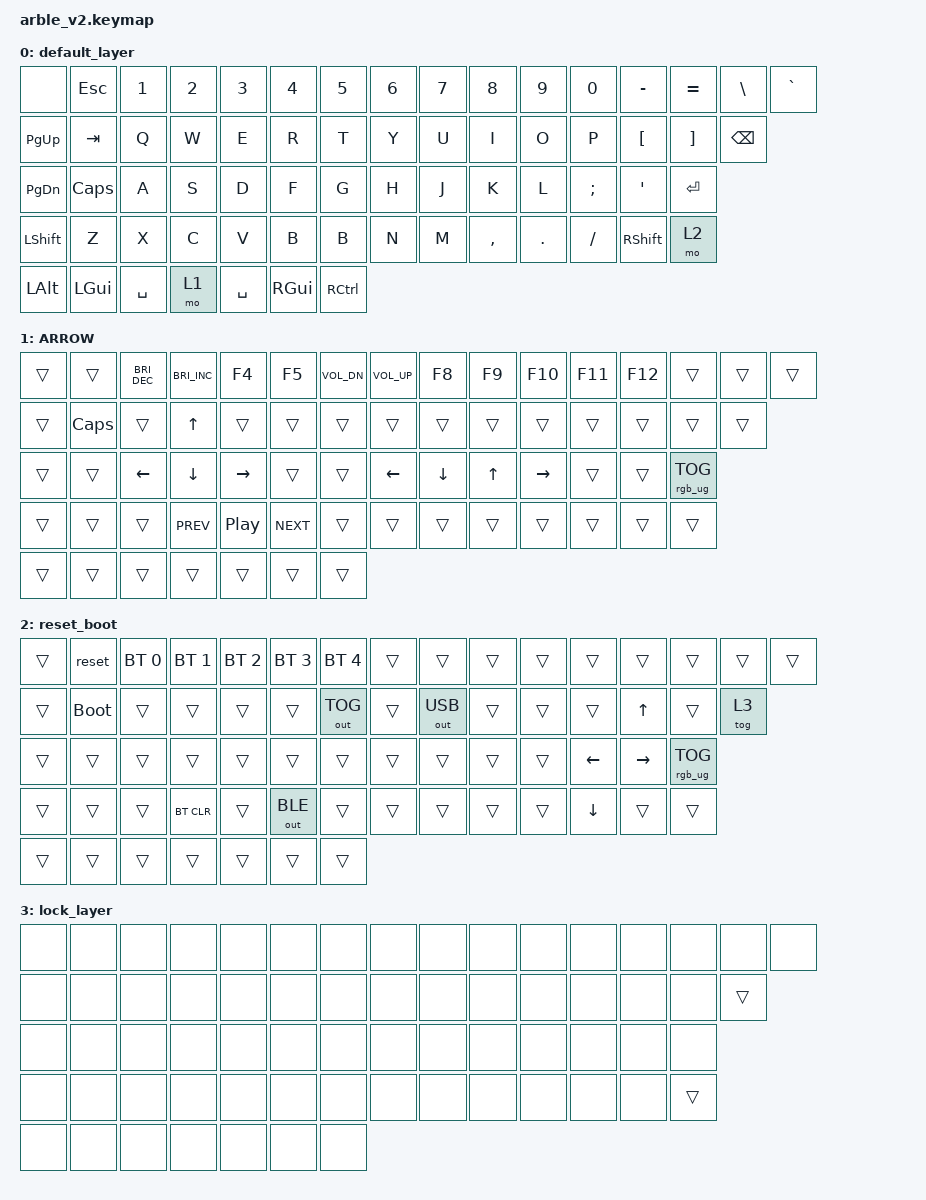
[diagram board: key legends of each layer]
/*
 * Copyright (c) 2021 Nick Winans
 *
 * SPDX-License-Identifier: MIT
 */

#include <behaviors.dtsi>
#include <dt-bindings/zmk/bt.h>
#include <dt-bindings/zmk/keys.h>
#include <dt-bindings/zmk/outputs.h>
#include <dt-bindings/zmk/rgb.h>

/ {
    keymap {
        compatible = "zmk,keymap";

        default_layer {
            bindings = <
&none         &kp ESC       &kp N1     &kp N2  &kp N3     &kp N4         &kp N5     &kp N6  &kp N7  &kp N8     &kp N9   &kp N0    &kp MINUS  &kp EQUAL  &kp BACKSLASH  &kp GRAVE
&kp PAGE_UP   &kp TAB       &kp Q      &kp W   &kp E      &kp R          &kp T      &kp Y   &kp U   &kp I      &kp O    &kp P     &kp LBKT   &kp RBKT   &kp BACKSPACE
&kp PG_DN     &kp CAPS      &kp A      &kp S   &kp D      &kp F          &kp G      &kp H   &kp J   &kp K      &kp L    &kp SEMI  &kp SQT    &kp RET
&kp LSHFT     &kp Z         &kp X      &kp C   &kp V      &kp B          &kp B      &kp N   &kp M   &kp COMMA  &kp DOT  &kp FSLH  &kp RSHFT  &mo 2
&kp LEFT_ALT  &kp LEFT_GUI  &kp SPACE  &mo 1   &kp SPACE  &kp RIGHT_GUI  &kp RCTRL
            >;
        };

        ARROW {
            bindings = <
&trans  &trans    &kp C_BRIGHTNESS_DEC  &kp C_BRIGHTNESS_INC  &kp F4            &kp F5      &kp C_VOL_DN  &kp C_VOL_UP  &kp F8    &kp F9  &kp F10    &kp F11  &kp F12  &trans           &trans  &trans
&trans  &kp CAPS  &trans                &kp UP                &trans            &trans      &trans        &trans        &trans    &trans  &trans     &trans   &trans   &trans           &trans
&trans  &trans    &kp LEFT              &kp DOWN              &kp RIGHT         &trans      &trans        &kp LEFT      &kp DOWN  &kp UP  &kp RIGHT  &trans   &trans   &rgb_ug RGB_TOG
&trans  &trans    &trans                &kp C_PREV            &kp C_PLAY_PAUSE  &kp C_NEXT  &trans        &trans        &trans    &trans  &trans     &trans   &trans   &trans
&trans  &trans    &trans                &trans                &trans            &trans      &trans
            >;
        };

        reset_boot {
            bindings = <
&trans  &reset       &bt BT_SEL 0  &bt BT_SEL 1  &bt BT_SEL 2  &bt BT_SEL 3  &bt BT_SEL 4  &trans  &trans        &trans  &trans  &trans    &trans     &trans           &trans  &trans
&trans  &bootloader  &trans        &trans        &trans        &trans        &out OUT_TOG  &trans  &out OUT_USB  &trans  &trans  &trans    &kp UP     &trans           &tog 3
&trans  &trans       &trans        &trans        &trans        &trans        &trans        &trans  &trans        &trans  &trans  &kp LEFT  &kp RIGHT  &rgb_ug RGB_TOG
&trans  &trans       &trans        &bt BT_CLR    &trans        &out OUT_BLE  &trans        &trans  &trans        &trans  &trans  &kp DOWN  &trans     &trans
&trans  &trans       &trans        &trans        &trans        &trans        &trans
            >;
        };

        lock_layer {
            bindings = <
&none  &none  &none  &none  &none  &none  &none  &none  &none  &none  &none  &none  &none  &none   &none   &none
&none  &none  &none  &none  &none  &none  &none  &none  &none  &none  &none  &none  &none  &none   &trans
&none  &none  &none  &none  &none  &none  &none  &none  &none  &none  &none  &none  &none  &none
&none  &none  &none  &none  &none  &none  &none  &none  &none  &none  &none  &none  &none  &trans
&none  &none  &none  &none  &none  &none  &none
            >;
        };
    };
};
